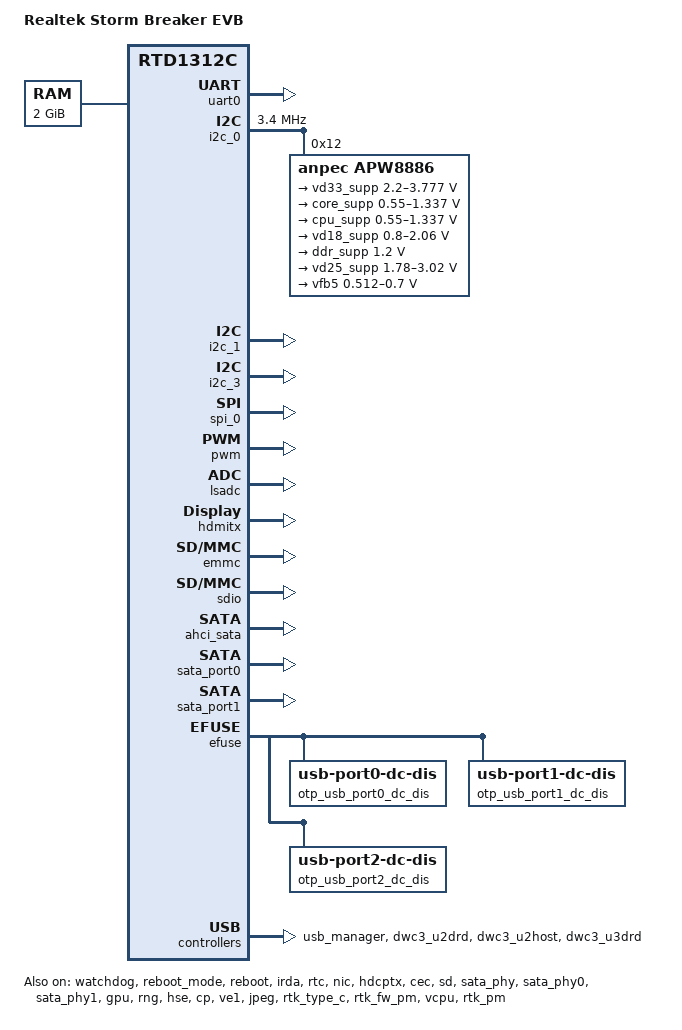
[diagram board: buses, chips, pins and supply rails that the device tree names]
// SPDX-License-Identifier: (GPL-2.0-or-later OR BSD-2-Clause)
/*
 * Copyright (c) 2019-2020 Realtek Semiconductor Corp.
 */

/dts-v1/;

#include <dt-bindings/clock/rtd1319-clk.h>
#include <dt-bindings/regulator/anpec,apw888x.h>
#include <dt-bindings/soc/realtek,pm.h>
#include <dt-bindings/thermal/thermal.h>

#include "rtd13xx.dtsi"

/ {
	compatible = "realtek,storm-breaker", "realtek,rtd1312c";
	model = "Realtek Storm Breaker EVB";

	memory@4000 {
		device_type = "memory";
		reg = <0x00004000 0x7fffc000>; /* boot ROM to 1 GiB or 2 GiB */
	};

	chosen {
		stdout-path = "serial0:460800n8";
	};
};

/* debug console (J1) */
&uart0 {
	status = "okay";
};

/* M.2 slot (CON8) */
&uart1 {
	status = "disabled";
};

/* GPIO connector (T1) */
&uart2 {
	status = "disabled";
};

/* PMIC */
&i2c_0 {
	clock-frequency = <3400000>;
	pinctrl-0 = <&i2c_pins_0_HS>;
	status = "okay";

	apw8886: apw8886@12 {
		compatible = "anpec,apw8886";
		reg = <0x12>;

		regulators: regulators {
			compatible = "anpec,apw8886-regulator";
		};

	};
};

&i2c_1 {
	status = "okay";
};

&i2c_3 {
	status = "okay";
};

&watchdog {
	status = "okay";
};

&reboot_mode {
	status = "okay";
};

&reboot {
	status = "okay";
};

&irda {
	status = "okay";
};

&gpio {
	status = "okay";
};

&rtc {
	status = "okay";
};

&nic {
	status = "okay";
};

&spi_0 {
	status = "okay";
};

&pwm {
	status = "okay";
};

&lsadc {
	status = "okay";
};

&hdmitx {
	status = "okay";
};

&hdcptx {
	status = "okay";
};

&cec {
	status = "okay";
};

&emmc {
	status = "okay";
};

&sd {
	status = "okay";
};

&sdio {
	status = "okay";
};

&sata_phy {
	status = "okay";
};

&sata_phy0 {
	status = "okay";
};

&sata_phy1 {
	status = "okay";
};

&ahci_sata {
	status = "okay";
};

&sata_port0 {
	status = "okay";
};

&sata_port1 {
	status = "okay";
};

&gpu {
	status = "okay";
	operating-points-v2 = <&gpu_opps>;

	gpu_opps: gpu-opp-table {
		compatible = "operating-points-v2",
			     "operating-points-v2-mali";

		opp-400 {
			opp-hz = /bits/ 64 <400000000>;
			opp-hz-real = /bits/ 64 <400000000>;
			opp-microvolt = <900000>;
			opp-suspend;
		};
		opp-500 {
			opp-hz = /bits/ 64 <500000000>;
			opp-hz-real = /bits/ 64 <500000000>;
			opp-microvolt = <900000>;
		};
		opp-600 {
			opp-hz = /bits/ 64 <600000000>;
			opp-hz-real = /bits/ 64 <600000000>;
			opp-microvolt = <900000>;
		};
		opp-650 {
			opp-hz = /bits/ 64 <650000000>;
			opp-hz-real = /bits/ 64 <650000000>;
			opp-microvolt = <900000>;
		};
	};
};

&sound {
	status = "okay";
};

&rng {
	status = "okay";
};

&hse {
	status = "okay";
};

&cp {
	status = "okay";
};

&ve1 {
	status = "okay";
};

&jpeg {
	status = "okay";
};

&apw8886 {
	regulators {
		vd33_supp: dc1 {
			regulator-name = "vd33";
			regulator-min-microvolt = <2200000>;
			regulator-max-microvolt = <3777500>;

			regulator-boot-on;
			regulator-always-on;
			regulator-initial-mode = <APW888X_DC_MODE_AUTO>;
			regulator-state-mem {
				regulator-on-in-suspend;
				regulator-suspend-microvolt = <3300000>;
			};
		};

		core_supp: dc2 {
			regulator-name = "core";
			regulator-min-microvolt = <550000>;
			regulator-max-microvolt = <1337500>;

			regulator-boot-on;
			regulator-always-on;
			regulator-initial-mode = <APW888X_DC_MODE_AUTO>;
			regulator-state-mem {
				regulator-on-in-suspend;
				regulator-suspend-microvolt = <900000>;
			};
		};

		cpu_supp: dc3 {
			regulator-name = "cpudvs";
			regulator-min-microvolt = <550000>;
			regulator-max-microvolt = <1337500>;

			regulator-boot-on;
			regulator-always-on;
			regulator-initial-mode = <APW888X_DC_MODE_AUTO>;
			regulator-ramp-delay = <625>;
			regulator-state-mem {
				regulator-off-in-suspend;
			};
		};

		vd18_supp: dc4 {
			regulator-name = "vd18";
			regulator-min-microvolt = <800000>;
			regulator-max-microvolt = <2060000>;

			regulator-boot-on;
			regulator-always-on;
			regulator-initial-mode = <APW888X_DC_MODE_AUTO>;
			regulator-state-mem {
				regulator-on-in-suspend;
			};
		};

		ddr_supp: dc5 {
			regulator-name = "ddr";
			regulator-min-microvolt = <1200000>;
			regulator-max-microvolt = <1200000>;
			regulator-boot-on;
			regulator-always-on;
			regulator-initial-mode = <APW888X_DC_MODE_AUTO>;
			regulator-state-mem {
				regulator-on-in-suspend;
			};
			regulator-state-shutdown {
				regulator-off-in-suspend;
			};
		};

		vd25_supp: ldo1 {
			regulator-name = "vd25";
			regulator-min-microvolt = <1780000>;
			regulator-max-microvolt = <3020000>;

			regulator-boot-on;
			regulator-always-on;
			regulator-initial-mode = <APW888X_LDO_MODE_NORMAL>;
			regulator-state-mem {
				regulator-on-in-suspend;
			};
		};

		vfb5 {
			regulator-name = "vfb5";
			regulator-min-microvolt = <512500>;
			regulator-max-microvolt = <700000>;

			regulator-boot-on;
			regulator-always-on;
			regulator-state-mem {
				regulator-on-in-suspend;
			};
		};
	};
};

&cpu0 {
	clocks = <&cc RTD1319_CRT_PLL_SCPU>;
	cpu-supply = <&cpu_supp>;
	operating-points-v2 = <&cpu_opps>;
	#cooling-cells = <2>;
};

&cpu1 {
	clocks = <&cc RTD1319_CRT_PLL_SCPU>;
	cpu-supply = <&cpu_supp>;
	operating-points-v2 = <&cpu_opps>;
	#cooling-cells = <2>;
};

&cpu2 {
	clocks = <&cc RTD1319_CRT_PLL_SCPU>;
	cpu-supply = <&cpu_supp>;
	operating-points-v2 = <&cpu_opps>;
	#cooling-cells = <2>;
};

&cpu3 {
	clocks = <&cc RTD1319_CRT_PLL_SCPU>;
	cpu-supply = <&cpu_supp>;
	operating-points-v2 = <&cpu_opps>;
	#cooling-cells = <2>;
};

&cpu_dvfs {
	fss,opp-updated = <0>;
	fss,volt-correct = <12500 12500 12500>;
	fss,volt-step = <25000>;
	fss,volt-min = <850000>;
	fss,volt-max = <1100000>;

	cpu_opps: cpu-opp-table {
		compatible = "operating-points-v2";
		opp-shared;
		opp600: opp-600mhz {
			opp-hz = /bits/ 64 <600000000>;
			opp-microvolt = <862500>;
			opp-microvolt-fss = <0>;
			clock-latency-ns = <150000>;
			status = "okay";
		};
		opp700: opp-700mhz {
			opp-hz = /bits/ 64 <700000000>;
			opp-microvolt = <887500>;
			opp-microvolt-fss = <0>;
			clock-latency-ns = <150000>;
			status = "okay";
		};
		opp800: opp-800mhz {
			opp-hz = /bits/ 64 <800000000>;
			opp-microvolt = <912500>;
			opp-microvolt-fss = <0>;
			clock-latency-ns = <150000>;
			status = "okay";
		};
		opp900: opp-900mhz {
			opp-hz = /bits/ 64 <900000000>;
			opp-microvolt = <937500>;
			opp-microvolt-fss = <0>;
			clock-latency-ns = <150000>;
			status = "okay";
		};
		opp1000: opp-1000mhz {
			opp-hz = /bits/ 64 <1000000000>;
			opp-microvolt = <962500>;
			opp-microvolt-fss = <0>;
			clock-latency-ns = <150000>;
			status = "okay";
		};
		opp1100: opp-1100mhz {
			opp-hz = /bits/ 64 <1100000000>;
			opp-microvolt = <987500>;
			opp-microvolt-fss = <0>;
			clock-latency-ns = <150000>;
			opp-suspend;
			status = "okay";
		};
		opp1200: opp-1200mhz {
			opp-hz = /bits/ 64 <1200000000>;
			opp-microvolt = <1012500>;
			opp-microvolt-fss = <0>;
			clock-latency-ns = <150000>;
			status = "okay";
		};
		opp1300: opp-1300mhz {
			opp-hz = /bits/ 64 <1300000000>;
			opp-microvolt = <1050000>;
			opp-microvolt-fss = <0>;
			clock-latency-ns = <150000>;
			status = "okay";
		};
		opp1400: opp-1400mhz {
			opp-hz = /bits/ 64 <1400000000>;
			opp-microvolt = <1100000>;
			opp-microvolt-fss = <0>;
			clock-latency-ns = <150000>;
			status = "okay";
		};
	};
};

&efuse {
	otp_usb_port0_dc_dis: usb-port0-dc-dis@4fe {
		reg = <0x4fe 0x1>;
		bits = <0 4>;
	};
	otp_usb_port1_dc_dis: usb-port1-dc-dis@4fe {
		reg = <0x4fe 0x1>;
		bits = <4 4>;
	};
	otp_usb_port2_dc_dis: usb-port2-dc-dis@4ff {
		reg = <0x4ff 0x1>;
		bits = <0 4>;
	};
};

&usb_manager {
	status = "okay";

	gpio0: gpio0 {
		realtek,power-gpio = <&gpio 48 GPIO_ACTIVE_HIGH>;
		power_low_active;
	};

	gpio1: gpio1 {
		realtek,power-gpio = <&gpio 49 GPIO_ACTIVE_HIGH>;
		power_low_active;
	};

	port0 {
		usb = <&dwc3_u2drd>;
		usb_gpio = <&gpio0>;
	};

	port1 {
		usb = <&dwc3_u2host>;
		usb_gpio = <&gpio1>;
	};

	port2 {
		usb = <&dwc3_u3drd>;
		usb_gpio = <&gpio1>;
	};

	rtk_usb {
		type_c {
			realtek,connector_switch-gpio = <&gpio 30 GPIO_ACTIVE_HIGH>;
		};
	};
};

&dwc3_u2drd_usb2phy {
	nvmem-cells = <&otp_usb_port0_dc_cal>, <&otp_usb_port0_dc_dis>;
	nvmem-cell-names = "usb-dc-cal", "usb-dc-dis";
	/delete-node/phy0;
	phy0 {
		phy_data_page0_size = <16>;
		phy_data_page0_addr = /bits/ 8
			<0xE0 0xE1 0xE2 0xE3 0xE4 0xE5 0xE6 0xE7 0xF0 0xF1
			 0xF2 0xF3 0xF4 0xF5 0xF6 0xF7>;
		phy_data_page0_A00 = /bits/ 8
			<0x14 0x30 0x79 0x8D 0x67 0x55 0x01 0x81 0xEC 0x8C
			 0x00 0x11 0x9B 0x15 0x00 0x0A>;
		phy_data_page1_size = <8>;
		phy_data_page1_addr = /bits/ 8
			<0xE0 0xE1 0xE2 0xE3 0xE4 0xE5 0xE6 0xE7>;
		phy_data_page1_A00 = /bits/ 8
			<0x25 0xEF 0x60 0x23 0x00 0x0F 0x58 0xE3>;
		phy_data_page2_size = <1>;
		phy_data_page2_addr = /bits/ 8
			<0xE0>;
		phy_data_page2_A00 = /bits/ 8
			<0x00>;
		do_toggle;
		do_toggle_driving;
		check_efuse;
		usb_dc_cal_mask = <0xf>;
		usb_dc_dis_at_page0;
		//use_default_parameter;
		is_double_sensitivity_mode;
		ldo_force_enable;
	};
};

&dwc3_u2drd {
	status = "okay";

	dwc3_u2drd@98020000 {
		dr_mode = "peripheral"; /*host, peripheral*/
		status = "okay";
	};
};

&dwc3_u2host_usb2phy {
	nvmem-cells = <&otp_usb_port1_dc_cal>, <&otp_usb_port1_dc_dis>;
	nvmem-cell-names = "usb-dc-cal", "usb-dc-dis";
	/delete-node/phy0;
	phy0 {
		phy_data_page0_size = <16>;
		phy_data_page0_addr = /bits/ 8
			<0xE0 0xE1 0xE2 0xE3 0xE4 0xE5 0xE6 0xE7 0xF0 0xF1
			 0xF2 0xF3 0xF4 0xF5 0xF6 0xF7>;
		phy_data_page0_A00 = /bits/ 8
			<0x14 0x30 0x79 0x8D 0x67 0x55 0x01 0x81 0xEC 0x8C
			 0x00 0x11 0x9B 0x15 0x00 0x0A>;
		phy_data_page1_size = <8>;
		phy_data_page1_addr = /bits/ 8
			<0xE0 0xE1 0xE2 0xE3 0xE4 0xE5 0xE6 0xE7>;
		phy_data_page1_A00 = /bits/ 8
			<0x25 0xEF 0x60 0x23 0x00 0x0F 0x58 0xE3>;
		phy_data_page2_size = <1>;
		phy_data_page2_addr = /bits/ 8
			<0xE0>;
		phy_data_page2_A00 = /bits/ 8
			<0x00>;
		do_toggle;
		do_toggle_driving;
		check_efuse;
		usb_dc_cal_mask = <0xf>;
		usb_dc_dis_at_page0;
		//use_default_parameter;
		is_double_sensitivity_mode;
		ldo_force_enable;
	};
};

&dwc3_u2host {
	status = "okay";
};

&dwc3_u3drd_usb2phy {
	nvmem-cells = <&otp_usb_port2_dc_cal>, <&otp_usb_port2_dc_dis>;
	nvmem-cell-names = "usb-dc-cal", "usb-dc-dis";
	/delete-node/phy0;
	phy0 {
		phy_data_page0_size = <16>;
		phy_data_page0_addr = /bits/ 8
			<0xE0 0xE1 0xE2 0xE3 0xE4 0xE5 0xE6 0xE7 0xF0 0xF1
			 0xF2 0xF3 0xF4 0xF5 0xF6 0xF7>;
		phy_data_page0_A00 = /bits/ 8
			<0x14 0x30 0x79 0x8D 0x67 0x55 0x01 0x81 0xEC 0x8C
			 0x00 0x11 0x9B 0x15 0x00 0x0A>;
		phy_data_page1_size = <8>;
		phy_data_page1_addr = /bits/ 8
			<0xE0 0xE1 0xE2 0xE3 0xE4 0xE5 0xE6 0xE7>;
		phy_data_page1_A00 = /bits/ 8
			<0x25 0xEF 0x60 0x23 0x00 0x0F 0x58 0xE3>;
		phy_data_page2_size = <1>;
		phy_data_page2_addr = /bits/ 8
			<0xE0>;
		phy_data_page2_A00 = /bits/ 8
			<0x00>;
		do_toggle;
		do_toggle_driving;
		check_efuse;
		usb_dc_cal_mask = <0xf>;
		usb_dc_dis_at_page0;
		//use_default_parameter;
		is_double_sensitivity_mode;
		ldo_force_enable;
	};
};

&dwc3_u3drd_usb3phy {
	status = "disable";
};

&dwc3_u3drd {
	status = "okay";

	dwc3_u3drd@981f0000 {
		dr_mode = "host"; /*host, peripheral*/
		usb-phy = <&dwc3_u3drd_usb2phy>;
		status = "okay";
	};
};

&rtk_type_c {
	status = "okay";

	dwc3_rtk = <&dwc3_u3drd>;

	boot_check_time = <30000>; /*ms (At boot Device switch Host time)*/

	default_revision = <0xA00>;
	A00 {
		cc_dfp_mode = "dfp_3_0"; /*dfp_3_0, dfp_1_5, dfp_usb*/
		cc1_rp_4p7k_code = <0xE>;
		cc1_rp_36k_code = <0xC>;
		cc1_rp_12k_code = <0xC>;
		cc1_rd_code = <0xA>;
		cc1_ra_code = <0x3>;
		cc1_vref_ufp = /bits/ 8
			<0x7 0x7 0x4>; /*<1p23v,0p66v,0p2v>*/
		cc1_vref_dfp_usb = /bits/ 8
			<0x7 0x4 0x0>; /*<0_1p6v,0p2v,unused>*/
		cc1_vref_dfp_1_5 = /bits/ 8
			<0x7 0x4 0x4>; /*<1_1p6v,0p4v,0p2v>*/
		cc1_vref_dfp_3_0 = /bits/ 8
			<0xa 0x7 0x4>; /*<2p6v,0p8v,0p2v>*/
		cc2_rp_4p7k_code = <0xE>;
		cc2_rp_36k_code = <0xC>;
		cc2_rp_12k_code = <0xC>;
		cc2_rd_code = <0xA>;
		cc2_ra_code = <0x3>;
		cc2_vref_ufp = /bits/ 8
			<0x7 0x7 0x4>; /*<1p23v,0p66v,0p2v>*/
		cc2_vref_dfp_usb = /bits/ 8
			<0x7 0x4 0x0>; /*<0_1p6v,0p2v,unused>*/
		cc2_vref_dfp_1_5 = /bits/ 8
			<0x7 0x4 0x4>; /*<1_1p6v,0p4v,0p2v>*/
		cc2_vref_dfp_3_0 = /bits/ 8
			<0xa 0x7 0x4>; /*<2p6v,0p8v,0p2v>*/
	};
};

&cpu_thermal {
	trips {
		cpu_alert0: cpu-alert0 {
			temperature = <90000>;
			hysteresis = <0>;
			type = "passive";
		};
		cpu_alert1: cpu-alert1 {
			temperature = <105000>;
			hysteresis = <0>;
			type = "passive";
		};
	};
	cooling-maps {
		cpu-map0 {
			trip = <&cpu_alert0>;
			cooling-device = <&cpu0 THERMAL_NO_LIMIT 3>;
			contribution = <70>;
		};
		cpu-map1 {
			trip = <&cpu_alert1>;
			cooling-device = <&cpu0 4 THERMAL_NO_LIMIT>;
			contribution = <70>;
		};
	};
};

&rtk_fw_pm {
	status = "okay";
};

&vcpu {
	status = "okay";
};

&rtk_pm {
	wakeup-flags = <NORMAL_MODE>;
	wakeup-gpio-list = <11 GPIO_WAKEUP_ENABLE GPIO_WAKEUP_ACTIVE_LOW>,
			   <26 GPIO_WAKEUP_ENABLE GPIO_WAKEUP_ACTIVE_LOW>;
	wakeup-timer = <0>;
	status = "okay";
};

&audio_out {
	audio-gpios = <&gpio 47 GPIO_ACTIVE_HIGH>;
	pinctrl-names = "default";
	pinctrl-0 = <&spdif_pins>;
	status = "okay";
};
